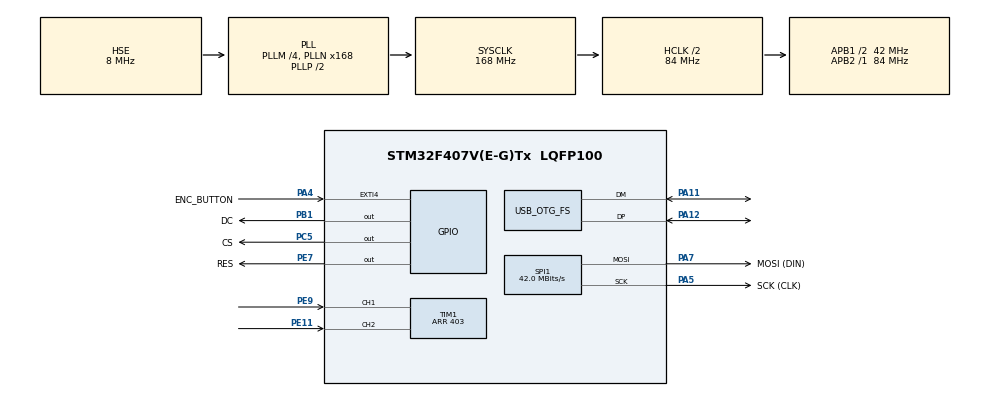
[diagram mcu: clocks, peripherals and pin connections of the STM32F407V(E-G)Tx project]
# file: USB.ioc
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Mcu.Family=STM32F4
Mcu.Name=STM32F407V(E-G)Tx
Mcu.Package=LQFP100
NVIC.EXTI4_IRQn=true\:0\:0\:false\:false\:true\:true
NVIC.OTG_FS_IRQn=true\:0\:0\:false\:false\:true\:false
NVIC.PriorityGroup=NVIC_PRIORITYGROUP_4
NVIC.TIM1_UP_TIM10_IRQn=true\:0\:0\:false\:false\:true\:true
PA11.Mode=Device_Only
PA11.Signal=USB_OTG_FS_DM
PA12.Mode=Device_Only
PA12.Signal=USB_OTG_FS_DP
PA4.GPIO_Label=ENC_BUTTON
PA4.GPIO_ModeDefaultEXTI=GPIO_MODE_IT_FALLING
PA4.GPIO_PuPd=GPIO_PULLDOWN
PA4.Signal=GPXTI4
PA5.GPIO_Label=SCK (CLK)
PA5.Mode=TX_Only_Simplex_Unidirect_Master
PA5.Signal=SPI1_SCK
PA7.GPIO_Label=MOSI (DIN)
PA7.Mode=TX_Only_Simplex_Unidirect_Master
PA7.Signal=SPI1_MOSI
PB1.GPIO_Label=DC
PB1.Signal=GPIO_Output
PC5.GPIO_Label=CS
PC5.Signal=GPIO_Output
PE11.Signal=S_TIM1_CH2
PE7.GPIO_Label=RES
PE7.Signal=GPIO_Output
PE9.Signal=S_TIM1_CH1
PH0-OSC_IN.Mode=HSE-External-Oscillator
PH0-OSC_IN.Signal=RCC_OSC_IN
PH1-OSC_OUT.Mode=HSE-External-Oscillator
PH1-OSC_OUT.Signal=RCC_OSC_OUT
ProjectManager.HeapSize=0x2000
ProjectManager.StackSize=0x4000
ProjectManager.TargetToolchain=MDK-ARM V5
RCC.48MHZClocksFreq_Value=48000000
RCC.AHBCLKDivider=RCC_SYSCLK_DIV2
RCC.AHBFreq_Value=84000000
RCC.APB1CLKDivider=RCC_HCLK_DIV2
RCC.APB1Freq_Value=42000000
RCC.APB1TimFreq_Value=84000000
RCC.APB2Freq_Value=84000000
RCC.APB2TimFreq_Value=84000000
RCC.CortexFreq_Value=84000000
RCC.HCLKFreq_Value=84000000
RCC.HSE_VALUE=8000000
RCC.HSI_VALUE=16000000
RCC.LSE_VALUE=32768
RCC.PLLM=4
RCC.PLLN=168
RCC.PLLQ=7
RCC.SYSCLKFreq_VALUE=168000000
RCC.SYSCLKSource=RCC_SYSCLKSOURCE_PLLCLK
RCC.VCOOutputFreq_Value=336000000
SH.S_TIM1_CH1.0=TIM1_CH1,Encoder_Interface
SH.S_TIM1_CH2.0=TIM1_CH2,Encoder_Interface
SPI1.CLKPhase=SPI_PHASE_2EDGE
SPI1.CLKPolarity=SPI_POLARITY_HIGH
SPI1.CalculateBaudRate=42.0 MBits/s
SPI1.Direction=SPI_DIRECTION_2LINES
SPI1.Mode=SPI_MODE_MASTER
SPI1.VirtualType=VM_MASTER
TIM1.IC1Filter=15
TIM1.IC2Filter=15
TIM1.Period=403
TIM10.Period=4999
TIM10.Prescaler=9999
USB_DEVICE.CLASS_NAME_FS=CDC
USB_DEVICE.VirtualMode-CDC_FS=Cdc
USB_DEVICE.VirtualModeFS=Cdc_FS
USB_OTG_FS.VirtualMode=Device_Only
VP_TIM10_VS_ClockSourceINT.Mode=Enable_Timer
VP_USB_DEVICE_VS_USB_DEVICE_CDC_FS.Mode=CDC_FS
board=USB

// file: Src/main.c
/**
  ******************************************************************************
  * @file           : main.c
  * @brief          : Main program body
  ******************************************************************************
  * This notice applies to any and all portions of this file
  * that are not between comment pairs USER CODE BEGIN and
  * USER CODE END. Other portions of this file, whether
  * inserted by the user or by software development tools
  * are owned by their respective copyright owners.
  *
  * Copyright (c) 2018 STMicroelectronics International N.V.
  * All rights reserved.
  *
  * Redistribution and use in source and binary forms, with or without
  * modification, are permitted, provided that the following conditions are met:
  *
  * 1. Redistribution of source code must retain the above copyright notice,
  *    this list of conditions and the following disclaimer.
  * 2. Redistributions in binary form must reproduce the above copyright notice,
  *    this list of conditions and the following disclaimer in the documentation
  *    and/or other materials provided with the distribution.
  * 3. Neither the name of STMicroelectronics nor the names of other
  *    contributors to this software may be used to endorse or promote products
  *    derived from this software without specific written permission.
  * 4. This software, including modifications and/or derivative works of this
  *    software, must execute solely and exclusively on microcontroller or
  *    microprocessor devices manufactured by or for STMicroelectronics.
  * 5. Redistribution and use of this software other than as permitted under
  *    this license is void and will automatically terminate your rights under
  *    this license.
  *
  * THIS SOFTWARE IS PROVIDED BY STMICROELECTRONICS AND CONTRIBUTORS "AS IS"
  * AND ANY EXPRESS, IMPLIED OR STATUTORY WARRANTIES, INCLUDING, BUT NOT
  * LIMITED TO, THE IMPLIED WARRANTIES OF MERCHANTABILITY, FITNESS FOR A
  * PARTICULAR PURPOSE AND NON-INFRINGEMENT OF THIRD PARTY INTELLECTUAL PROPERTY
  * RIGHTS ARE DISCLAIMED TO THE FULLEST EXTENT PERMITTED BY LAW. IN NO EVENT
  * SHALL STMICROELECTRONICS OR CONTRIBUTORS BE LIABLE FOR ANY DIRECT, INDIRECT,
  * INCIDENTAL, SPECIAL, EXEMPLARY, OR CONSEQUENTIAL DAMAGES (INCLUDING, BUT NOT
  * LIMITED TO, PROCUREMENT OF SUBSTITUTE GOODS OR SERVICES; LOSS OF USE, DATA,
  * OR PROFITS; OR BUSINESS INTERRUPTION) HOWEVER CAUSED AND ON ANY THEORY OF
  * LIABILITY, WHETHER IN CONTRACT, STRICT LIABILITY, OR TORT (INCLUDING
  * NEGLIGENCE OR OTHERWISE) ARISING IN ANY WAY OUT OF THE USE OF THIS SOFTWARE,
  * EVEN IF ADVISED OF THE POSSIBILITY OF SUCH DAMAGE.
  *
  ******************************************************************************
  */
#include "main.h"
#include "stm32f4xx_hal.h"
#include "usb_device.h"

/* USER CODE BEGIN Includes */
#include "usbd_cdc_if.h"
#include <string.h>
#include "SSD1331.h"

/* USER CODE END Includes */

SPI_HandleTypeDef hspi1;
TIM_HandleTypeDef htim1;
TIM_HandleTypeDef htim10;
/* USER CODE BEGIN PV */
/* Private variables ---------------------------------------------------------*/
volatile uint16_t pulse_count; // Licznik impulsow
volatile uint16_t positions; // Licznik przekreconych pozycji
uint8_t coodebrac = 0;
volatile int state; //Var needed to change mods
int prevpos;
uint32_t timer10;
//DATA INFO
uint8_t ln_breaker = '_';
uint8_t Buf[1000];
uint8_t Info1[40];
uint8_t Info2[40];
uint8_t Info3[40];
uint8_t Info4[40];
uint8_t Info5[40];
uint8_t Info6[40];
uint8_t Info7[40];
uint8_t Info8[40];
uint8_t Info9[40];
uint8_t Info10[40];
uint8_t Info11[40];
uint8_t Info12[40];
uint8_t Info13[40];
uint8_t Info14[40];
uint8_t Info15[40];
uint8_t Info16[40];
uint8_t Info17[40];
uint8_t Info18[40];
uint8_t Info19[40];
uint8_t Info20[40];
uint8_t Info21[40];
uint8_t Info22[40];
uint8_t Info23[40];
uint8_t Info24[40];
uint8_t Info25[40];
uint8_t Info26[40];
uint8_t Info27[40];
uint8_t Info28[40];
uint8_t Info29[40];
uint8_t Info30[40];

int info_pos[30] = {0,0,0,0,0,0,0,0,0,0,0,0,0,0,0,0,0,0,0,0,0,0,0,0,0,0,0,0,0,0};
int first_row = 1, second_row = 2, third_row = 3, forth_row = 4;

/* USER CODE END PV */

void SystemClock_Config(void);
static void MX_GPIO_Init(void);
static void MX_SPI1_Init(void);
static void MX_TIM1_Init(void);
static void MX_TIM10_Init(void);

/* USER CODE BEGIN PFP */
/* Private function prototypes -----------------------------------------------*/

/* USER CODE END PFP */

/* USER CODE BEGIN 0 */

void search_for_data_packets(){
	int i, pos;
	pos = 0;
	for(i = 0; i <= 1000; i++){
		if(Buf[i] == ln_breaker){
				if (pos == 0){
					info_pos[pos] = i;
					pos++;
				} else if (pos == 1){
					info_pos[pos] = i;
					pos++;
				} else if (pos == 2){
					info_pos[pos] = i;
					pos++;
				} else if (pos == 3){
					info_pos[pos] = i;
					pos++;
				} else if (pos == 4){
					info_pos[pos] = i;
					pos++;
				} else if (pos == 5){
					info_pos[pos] = i;
					pos++;
				} else if (pos == 6){
					info_pos[pos] = i;
					pos++;
				} else if (pos == 7){
					info_pos[pos] = i;
					pos++;
				} else if (pos == 8){
					info_pos[pos] = i;
					pos++;
				} else if (pos == 9){
					info_pos[pos] = i;
					pos++;
				} else if (pos == 10){
					info_pos[pos] = i;
					pos++;
				} else if (pos == 11){
					info_pos[pos] = i;
					pos++;
				} else if (pos == 12){
					info_pos[pos] = i;
					pos++;
				} else if (pos == 13){
					info_pos[pos] = i;
					pos++;
				} else if (pos == 14){
					info_pos[pos] = i;
					pos++;
				} else if (pos == 15){
					info_pos[pos] = i;
					pos++;
				} else if (pos == 16){
					info_pos[pos] = i;
					pos++;
				} else if (pos == 17){
					info_pos[pos] = i;
					pos++;
				} else if (pos == 18){
					info_pos[pos] = i;
					pos++;
				} else if (pos == 19){
					info_pos[pos] = i;
					pos++;
				} else if (pos == 20){
					info_pos[pos] = i;
					pos++;
				} else if (pos == 21){
					info_pos[pos] = i;
					pos++;
				} else if (pos == 22){
					info_pos[pos] = i;
					pos++;
				} else if (pos == 23){
					info_pos[pos] = i;
					pos++;
				} else if (pos == 24){
					info_pos[pos] = i;
					pos++;
				} else if (pos == 25){
					info_pos[pos] = i;
					pos++;
				} else if (pos == 26){
					info_pos[pos] = i;
					pos++;
				} else if (pos == 27){
					info_pos[pos] = i;
					pos++;
				} else if (pos == 28){
					info_pos[pos] = i;
					pos++;
				} else if (pos == 29){
					info_pos[pos] = i;
					pos++;
				} else if (pos == 30){
					info_pos[pos] = i;
					pos++;
				} else break;
		}
	}

	}

void buf_partition(uint16_t start_pos, uint16_t end_pos, uint8_t table[100]){
		if (start_pos <= end_pos){
		uint16_t cnt = 0;
		while(start_pos != end_pos){
		table[cnt] = Buf[start_pos];
		start_pos++;
		cnt++;
		}
	}
	}

int check_what_to_display(uint8_t pos){
	if (pos == 1)
	return first_row;
	else
	if (pos == 2)
	return second_row;
	else
	if (pos == 3)
	return third_row;
	else
	if (pos == 4)
	return forth_row;
}

void disp_row(uint8_t row, bool option){
	//FALSE to display first portion of data, TRUE to display second portion of data
	int end_at = 11;
	int start_at = 12;
switch(check_what_to_display(row)){
		case 1:
			for(int i = 0; i < end_at; i++){
			if(Info1[(start_at*option)+i] != NULL)
			ssd1331_display_char(i*8,(row-1)*16,Info1[(start_at*option)+i],FONT_1608, GREEN);
			}
		break;

		case 2:
			for(int i = 0; i < end_at; i++){
			if(Info2[(start_at*option)+i] != NULL)
			ssd1331_display_char(i*8,(row-1)*16,Info2[(start_at*option)+i],FONT_1608, GREEN);
			}
		break;

			case 3:
			for(int i = 0; i < end_at; i++){
			if(Info3[(start_at*option)+i] != NULL)
			ssd1331_display_char(i*8,(row-1)*16,Info3[(start_at*option)+i],FONT_1608, GREEN);
			}
		break;

			case 4:
			for(int i = 0; i < end_at; i++){
			if(Info4[(start_at*option)+i] != NULL)
			ssd1331_display_char(i*8,(row-1)*16,Info4[(start_at*option)+i],FONT_1608, GREEN);
			}
		break;

			case 5:
			for(int i = 0; i < end_at; i++){
			if(Info5[(start_at*option)+i] != NULL)
			ssd1331_display_char(i*8,(row-1)*16,Info5[(start_at*option)+i],FONT_1608, GREEN);
			}
		break;

			case 6:
			for(int i = 0; i < end_at; i++){
			if(Info6[(start_at*option)+i] != NULL)
			ssd1331_display_char(i*8,(row-1)*16,Info6[(start_at*option)+i],FONT_1608, GREEN);
			}
		break;

			case 7:
			for(int i = 0; i < end_at; i++){
			if(Info7[(start_at*option)+i] != NULL)
			ssd1331_display_char(i*8,(row-1)*16,Info7[(start_at*option)+i],FONT_1608, GREEN);
			}
		break;

			case 8:
			for(int i = 0; i < end_at; i++){
			if(Info8[(start_at*option)+i] != NULL)
			ssd1331_display_char(i*8,(row-1)*16,Info8[(start_at*option)+i],FONT_1608, GREEN);
			}
		break;

			case 9:
			for(int i = 0; i < end_at; i++){
			if(Info9[(start_at*option)+i] != NULL)
			ssd1331_display_char(i*8,(row-1)*16,Info9[(start_at*option)+i],FONT_1608, GREEN);
			}
		break;

			case 10:
			for(int i = 0; i < end_at; i++){
			if(Info10[(start_at*option)+i] != NULL)
			ssd1331_display_char(i*8,(row-1)*16,Info10[(start_at*option)+i],FONT_1608, GREEN);
			}
		break;

			case 11:
			for(int i = 0; i < end_at; i++){
			if(Info11[(start_at*option)+i] != NULL)
			ssd1331_display_char(i*8,(row-1)*16,Info11[(start_at*option)+i],FONT_1608, GREEN);
			}
		break;

			case 12:
			for(int i = 0; i < end_at; i++){
			if(Info12[(start_at*option)+i] != NULL)
			ssd1331_display_char(i*8,(row-1)*16,Info12[(start_at*option)+i],FONT_1608, GREEN);
			}
		break;

			case 13:
			for(int i = 0; i < end_at; i++){
			if(Info13[(start_at*option)+i] != NULL)
			ssd1331_display_char(i*8,(row-1)*16,Info13[(start_at*option)+i],FONT_1608, GREEN);
			}
		break;

			case 14:
			for(int i = 0; i < end_at; i++){
			if(Info14[(start_at*option)+i] != NULL)
			ssd1331_display_char(i*8,(row-1)*16,Info14[(start_at*option)+i],FONT_1608, GREEN);
			}
		break;

			case 15:
			for(int i = 0; i < end_at; i++){
			if(Info15[(start_at*option)+i] != NULL)
			ssd1331_display_char(i*8,(row-1)*16,Info15[(start_at*option)+i],FONT_1608, GREEN);
			}
		break;

			case 16:
			for(int i = 0; i < end_at; i++){
			if(Info16[(start_at*option)+i] != NULL)
			ssd1331_display_char(i*8,(row-1)*16,Info16[(start_at*option)+i],FONT_1608, GREEN);
			}
		break;

			case 17:
			for(int i = 0; i < end_at; i++){
			if(Info17[(start_at*option)+i] != NULL)
			ssd1331_display_char(i*8,(row-1)*16,Info17[(start_at*option)+i],FONT_1608, GREEN);
			}
		break;

			case 18:
			for(int i = 0; i < end_at; i++){
			if(Info18[(start_at*option)+i] != NULL)
			ssd1331_display_char(i*8,(row-1)*16,Info18[(start_at*option)+i],FONT_1608, GREEN);
			}
		break;

			case 19:
			for(int i = 0; i < end_at; i++){
			if(Info19[(start_at*option)+i] != NULL)
			ssd1331_display_char(i*8,(row-1)*16,Info19[(start_at*option)+i],FONT_1608, GREEN);
			}
		break;

			case 20:
			for(int i = 0; i < end_at; i++){
			if(Info20[(start_at*option)+i] != NULL)
			ssd1331_display_char(i*8,(row-1)*16,Info20[(start_at*option)+i],FONT_1608, GREEN);
			}
		break;

			case 21:
			for(int i = 0; i < end_at; i++){
			if(Info21[(start_at*option)+i] != NULL)
			ssd1331_display_char(i*8,(row-1)*16,Info21[(start_at*option)+i],FONT_1608, GREEN);
			}
		break;

			case 22:
			for(int i = 0; i < end_at; i++){
			if(Info22[(start_at*option)+i] != NULL)
			ssd1331_display_char(i*8,(row-1)*16,Info22[(start_at*option)+i],FONT_1608, GREEN);
			}
		break;

			case 23:
			for(int i = 0; i < end_at; i++){
			if(Info23[(start_at*option)+i] != NULL)
			ssd1331_display_char(i*8,(row-1)*16,Info23[(start_at*option)+i],FONT_1608, GREEN);
			}
		break;

			case 24:
			for(int i = 0; i < end_at; i++){
			if(Info24[(start_at*option)+i] != NULL)
			ssd1331_display_char(i*8,(row-1)*16,Info24[(start_at*option)+i],FONT_1608, GREEN);
			}
		break;

			case 25:
			for(int i = 0; i < end_at; i++){
			if(Info25[(start_at*option)+i] != NULL)
			ssd1331_display_char(i*8,(row-1)*16,Info25[(start_at*option)+i],FONT_1608, GREEN);
			}
		break;

			case 26:
			for(int i = 0; i < end_at; i++){
			if(Info26[(start_at*option)+i] != NULL)
			ssd1331_display_char(i*8,(row-1)*16,Info26[(start_at*option)+i],FONT_1608, GREEN);
			}
		break;

			case 27:
			for(int i = 0; i < end_at; i++){
			if(Info27[(start_at*option)+i] != NULL)
			ssd1331_display_char(i*8,(row-1)*16,Info27[(start_at*option)+i],FONT_1608, GREEN);
			}
		break;

			case 28:
			for(int i = 0; i < end_at; i++){
			if(Info28[(start_at*option)+i] != NULL)
			ssd1331_display_char(i*8,(row-1)*16,Info28[(start_at*option)+i],FONT_1608, GREEN);
			}
		break;

			case 29:
			for(int i = 0; i < end_at; i++){
			if(Info29[(start_at*option)+i] != NULL)
			ssd1331_display_char(i*8,(row-1)*16,Info29[(start_at*option)+i],FONT_1608, GREEN);
			}
		break;

			case 30:
			for(int i = 0; i < end_at; i++){
			if(Info30[(start_at*option)+i] != NULL)
			ssd1331_display_char(i*8,(row-1)*16,Info30[(start_at*option)+i],FONT_1608, GREEN);
			}
		break;
		}
	}

void set_row(uint8_t row, bool option){
	//0 is incrementing, 1 is decrementing
	if(!option){
		if(row == 1)
			first_row++;
		if(row == 2)
			second_row++;
		if(row == 3)
			third_row++;
		if(row == 4)
			forth_row++;
	} else if(option){
		if(row == 1)
			first_row--;
		if(row == 2)
			second_row--;
		if(row == 3)
			third_row--;
		if(row == 4)
			forth_row--;
	}

		if(first_row == 31)
		first_row = 1;
		if(first_row == 0)
		first_row = 30;

		if(second_row == 31)
		second_row = 1;
		if(second_row == 0)
		second_row = 30;

		if(third_row == 31)
		third_row = 1;
		if(third_row == 0)
		third_row = 30;

		if(forth_row == 31)
		forth_row = 1;
		if(forth_row == 0)
		forth_row = 30;
}

void change_info(uint8_t which_place){

	while(state != which_place+1){
		pulse_count = TIM1->CNT; // przepisanie wartosci z rejestru timera
		positions = pulse_count/4;

	if (prevpos > positions){
		set_row(which_place, 0);
		ssd1331_fill_rect(0, (which_place - 1) * 16, 100, 16, BLUE);
		disp_row(which_place,0);
		HAL_Delay(400);
		ssd1331_fill_rect(0, (which_place - 1) * 16, 100, 16, BLUE);
		disp_row(which_place,1);
		prevpos = positions;
			}
	else if (prevpos < positions){
		set_row(which_place, 1);
		ssd1331_fill_rect(0, (which_place - 1) * 16, 100, 16, BLUE);
		disp_row(which_place,0);
		HAL_Delay(400);
		ssd1331_fill_rect(0, (which_place - 1) * 16, 100, 16, BLUE);
		disp_row(which_place,1);
		prevpos = positions;
			}
		}
}

void show_display(bool option){

	//Data display on the screen
	ssd1331_clear_screen(BLACK);
	disp_row(1,option);
	disp_row(2,option);
	disp_row(3,option);
	disp_row(4,option);
}

void get_data(){
	search_for_data_packets();
	buf_partition(1, info_pos[0], Info1);
	buf_partition(info_pos[0]+1, info_pos[1], Info2);
	buf_partition(info_pos[1]+1, info_pos[2], Info3);
	buf_partition(info_pos[2]+1, info_pos[3], Info4);
	buf_partition(info_pos[3]+1, info_pos[4], Info5);
	buf_partition(info_pos[4]+1, info_pos[5], Info6);
	buf_partition(info_pos[5]+1, info_pos[6], Info7);
	buf_partition(info_pos[6]+1, info_pos[7], Info8);
	buf_partition(info_pos[7]+1, info_pos[8], Info9);
	buf_partition(info_pos[8]+1, info_pos[9], Info10);
	buf_partition(info_pos[9]+1, info_pos[10], Info11);
	buf_partition(info_pos[10]+1, info_pos[11], Info12);
	buf_partition(info_pos[11]+1, info_pos[12], Info13);
	buf_partition(info_pos[12]+1, info_pos[13], Info12);
	buf_partition(info_pos[13]+1, info_pos[14], Info14);
	buf_partition(info_pos[14]+1, info_pos[15], Info15);
	buf_partition(info_pos[15]+1, info_pos[16], Info16);
	buf_partition(info_pos[16]+1, info_pos[17], Info17);
	buf_partition(info_pos[17]+1, info_pos[18], Info18);
	buf_partition(info_pos[18]+1, info_pos[19], Info19);
	buf_partition(info_pos[19]+1, info_pos[20], Info20);
	buf_partition(info_pos[20]+1, info_pos[21], Info21);
	buf_partition(info_pos[21]+1, info_pos[22], Info22);
	buf_partition(info_pos[22]+1, info_pos[23], Info23);
	buf_partition(info_pos[23]+1, info_pos[24], Info24);
	buf_partition(info_pos[24]+1, info_pos[25], Info25);
	buf_partition(info_pos[25]+1, info_pos[26], Info26);
	buf_partition(info_pos[26]+1, info_pos[27], Info27);
	buf_partition(info_pos[27]+1, info_pos[28], Info28);
	buf_partition(info_pos[28]+1, info_pos[29], Info29);

}
int main(void)
{
  /* USER CODE BEGIN 1 */
	HAL_GPIO_WritePin(GPIOD, GPIO_PIN_4,GPIO_PIN_RESET);
	state = 0;
  /* USER CODE END 1 */

  /* MCU Configuration----------------------------------------------------------*/

  /* Reset of all peripherals, Initializes the Flash interface and the Systick. */
  HAL_Init();

  /* Configure the system clock */
  SystemClock_Config();

  /* Initialize all configured peripherals */
  MX_GPIO_Init();
  MX_USB_DEVICE_Init();
  MX_SPI1_Init();
  MX_TIM1_Init();
  MX_TIM10_Init();

  /* USER CODE BEGIN 2 */
	HAL_TIM_Encoder_Start(&htim1, TIM_CHANNEL_ALL);
	HAL_TIM_Base_Start_IT(&htim10);
	ssd1331_init();
	timer10 = __HAL_TIM_GetCounter(&htim10);
	ssd1331_clear_screen(BLACK);
	ssd1331_display_string(20,0,"PCInfo",FONT_1608,BLUE);
	ssd1331_display_string(37,16,"By",FONT_1206,RED);
	ssd1331_display_string(8,28,"Rafal Adamski",FONT_1206,RED);
	ssd1331_display_string(40,40,"&",FONT_1206,RED);
	ssd1331_display_string(8,52,"Adam Olszewski",FONT_1206,RED);
	  /* USER CODE END 2 */

  /* Infinite loop */
  /* USER CODE BEGIN WHILE */
  while (1)
  {

	while(Buf[0] != '!'){	}
	get_data();
		switch(state){
			case 0:
				//Data display on the screen
			show_display(0);
			HAL_Delay(800);
			show_display(1);
			HAL_Delay(800);
			break;
			//Change displayed data (first row)
			case 1:
				prevpos = positions;
				ssd1331_fill_rect(0, 0, 100, 16, BLUE);
				disp_row(1,0);
				change_info(1);
			  ssd1331_fill_rect(0, 0, 100, 16, BLACK);
				disp_row(1,0);
			break;

			case 2:
				prevpos = positions;
				ssd1331_fill_rect(0, 16, 100, 16, BLUE);
				disp_row(2,0);
				change_info(2);
				ssd1331_fill_rect(0, 16, 100, 16, BLACK);
				disp_row(2,0);
			break;

			case 3:
				prevpos = positions;
				ssd1331_fill_rect(0, 32, 100, 16, BLUE);
				disp_row(3,0);
				change_info(3);
				ssd1331_fill_rect(0, 32, 100, 16, BLACK);
				disp_row(3,0);
			break;

			case 4:
				prevpos = positions;
				ssd1331_fill_rect(0, 48, 100, 16, BLUE);
				disp_row(4,0);
				change_info(4);
				ssd1331_fill_rect(0, 48, 100, 16, BLACK);
				disp_row(4,0);
			break;

			default:
				state = 0;
			break;

		}

  /* USER CODE END WHILE */

  }

}

void SystemClock_Config(void)
{

  RCC_OscInitTypeDef RCC_OscInitStruct;
  RCC_ClkInitTypeDef RCC_ClkInitStruct;

    /**Configure the main internal regulator output voltage
    */
  __HAL_RCC_PWR_CLK_ENABLE();

  __HAL_PWR_VOLTAGESCALING_CONFIG(PWR_REGULATOR_VOLTAGE_SCALE1);

    /**Initializes the CPU, AHB and APB busses clocks
    */
  RCC_OscInitStruct.OscillatorType = RCC_OSCILLATORTYPE_HSE;
  RCC_OscInitStruct.HSEState = RCC_HSE_ON;
  RCC_OscInitStruct.PLL.PLLState = RCC_PLL_ON;
  RCC_OscInitStruct.PLL.PLLSource = RCC_PLLSOURCE_HSE;
  RCC_OscInitStruct.PLL.PLLM = 4;
  RCC_OscInitStruct.PLL.PLLN = 168;
  RCC_OscInitStruct.PLL.PLLP = RCC_PLLP_DIV2;
  RCC_OscInitStruct.PLL.PLLQ = 7;
  if (HAL_RCC_OscConfig(&RCC_OscInitStruct) != HAL_OK)
  {
    _Error_Handler(__FILE__, __LINE__);
  }

    /**Initializes the CPU, AHB and APB busses clocks
    */
  RCC_ClkInitStruct.ClockType = RCC_CLOCKTYPE_HCLK|RCC_CLOCKTYPE_SYSCLK
                              |RCC_CLOCKTYPE_PCLK1|RCC_CLOCKTYPE_PCLK2;
  RCC_ClkInitStruct.SYSCLKSource = RCC_SYSCLKSOURCE_PLLCLK;
  RCC_ClkInitStruct.AHBCLKDivider = RCC_SYSCLK_DIV2;
  RCC_ClkInitStruct.APB1CLKDivider = RCC_HCLK_DIV2;
  RCC_ClkInitStruct.APB2CLKDivider = RCC_HCLK_DIV1;

  if (HAL_RCC_ClockConfig(&RCC_ClkInitStruct, FLASH_LATENCY_2) != HAL_OK)
  {
    _Error_Handler(__FILE__, __LINE__);
  }

    /**Configure the Systick interrupt time
    */
  HAL_SYSTICK_Config(HAL_RCC_GetHCLKFreq()/1000);

    /**Configure the Systick
    */
  HAL_SYSTICK_CLKSourceConfig(SYSTICK_CLKSOURCE_HCLK);

  /* SysTick_IRQn interrupt configuration */
  HAL_NVIC_SetPriority(SysTick_IRQn, 0, 0);
}

/* SPI1 init function */
static void MX_SPI1_Init(void)
{

  /* SPI1 parameter configuration*/
  hspi1.Instance = SPI1;
  hspi1.Init.Mode = SPI_MODE_MASTER;
  hspi1.Init.Direction = SPI_DIRECTION_2LINES;
  hspi1.Init.DataSize = SPI_DATASIZE_8BIT;
  hspi1.Init.CLKPolarity = SPI_POLARITY_HIGH;
  hspi1.Init.CLKPhase = SPI_PHASE_2EDGE;
  hspi1.Init.NSS = SPI_NSS_SOFT;
  hspi1.Init.BaudRatePrescaler = SPI_BAUDRATEPRESCALER_2;
  hspi1.Init.FirstBit = SPI_FIRSTBIT_MSB;
  hspi1.Init.TIMode = SPI_TIMODE_DISABLE;
  hspi1.Init.CRCCalculation = SPI_CRCCALCULATION_DISABLE;
  hspi1.Init.CRCPolynomial = 10;
  if (HAL_SPI_Init(&hspi1) != HAL_OK)
  {
    _Error_Handler(__FILE__, __LINE__);
  }

}

/* TIM1 init function */
static void MX_TIM1_Init(void)
{

  TIM_Encoder_InitTypeDef sConfig;
  TIM_MasterConfigTypeDef sMasterConfig;

  htim1.Instance = TIM1;
  htim1.Init.Prescaler = 0;
  htim1.Init.CounterMode = TIM_COUNTERMODE_UP;
  htim1.Init.Period = 403;
  htim1.Init.ClockDivision = TIM_CLOCKDIVISION_DIV1;
  htim1.Init.RepetitionCounter = 0;
  sConfig.EncoderMode = TIM_ENCODERMODE_TI1;
  sConfig.IC1Polarity = TIM_ICPOLARITY_RISING;
  sConfig.IC1Selection = TIM_ICSELECTION_DIRECTTI;
  sConfig.IC1Prescaler = TIM_ICPSC_DIV1;
  sConfig.IC1Filter = 15;
  sConfig.IC2Polarity = TIM_ICPOLARITY_RISING;
  sConfig.IC2Selection = TIM_ICSELECTION_DIRECTTI;
  sConfig.IC2Prescaler = TIM_ICPSC_DIV1;
  sConfig.IC2Filter = 15;
  if (HAL_TIM_Encoder_Init(&htim1, &sConfig) != HAL_OK)
  {
    _Error_Handler(__FILE__, __LINE__);
  }

  sMasterConfig.MasterOutputTrigger = TIM_TRGO_RESET;
  sMasterConfig.MasterSlaveMode = TIM_MASTERSLAVEMODE_DISABLE;
  if (HAL_TIMEx_MasterConfigSynchronization(&htim1, &sMasterConfig) != HAL_OK)
  {
    _Error_Handler(__FILE__, __LINE__);
  }

}

/* TIM10 init function */
static void MX_TIM10_Init(void)
{

  htim10.Instance = TIM10;
  htim10.Init.Prescaler = 9999;
  htim10.Init.CounterMode = TIM_COUNTERMODE_UP;
  htim10.Init.Period = 49909;
  htim10.Init.ClockDivision = TIM_CLOCKDIVISION_DIV1;
  if (HAL_TIM_Base_Init(&htim10) != HAL_OK)
  {
    _Error_Handler(__FILE__, __LINE__);
  }

}

/** Configure pins as
        * Analog
        * Input
        * Output
        * EVENT_OUT
        * EXTI
*/
static void MX_GPIO_Init(void)
{

  GPIO_InitTypeDef GPIO_InitStruct;

  /* GPIO Ports Clock Enable */
  __HAL_RCC_GPIOH_CLK_ENABLE();
  __HAL_RCC_GPIOA_CLK_ENABLE();
  __HAL_RCC_GPIOC_CLK_ENABLE();
  __HAL_RCC_GPIOB_CLK_ENABLE();
  __HAL_RCC_GPIOE_CLK_ENABLE();

  /*Configure GPIO pin Output Level */
  HAL_GPIO_WritePin(CS_GPIO_Port, CS_Pin, GPIO_PIN_RESET);

  /*Configure GPIO pin Output Level */
  HAL_GPIO_WritePin(DC_GPIO_Port, DC_Pin, GPIO_PIN_RESET);

  /*Configure GPIO pin Output Level */
  HAL_GPIO_WritePin(RES_GPIO_Port, RES_Pin, GPIO_PIN_RESET);

  /*Configure GPIO pin : ENC_BUTTON_Pin */
  GPIO_InitStruct.Pin = ENC_BUTTON_Pin;
  GPIO_InitStruct.Mode = GPIO_MODE_IT_FALLING;
  GPIO_InitStruct.Pull = GPIO_PULLDOWN;
  HAL_GPIO_Init(ENC_BUTTON_GPIO_Port, &GPIO_InitStruct);

  /*Configure GPIO pin : CS_Pin */
  GPIO_InitStruct.Pin = CS_Pin;
  GPIO_InitStruct.Mode = GPIO_MODE_OUTPUT_PP;
  GPIO_InitStruct.Pull = GPIO_NOPULL;
  GPIO_InitStruct.Speed = GPIO_SPEED_FREQ_LOW;
  HAL_GPIO_Init(CS_GPIO_Port, &GPIO_InitStruct);

  /*Configure GPIO pin : DC_Pin */
  GPIO_InitStruct.Pin = DC_Pin;
  GPIO_InitStruct.Mode = GPIO_MODE_OUTPUT_PP;
  GPIO_InitStruct.Pull = GPIO_NOPULL;
  GPIO_InitStruct.Speed = GPIO_SPEED_FREQ_LOW;
  HAL_GPIO_Init(DC_GPIO_Port, &GPIO_InitStruct);

  /*Configure GPIO pin : RES_Pin */
  GPIO_InitStruct.Pin = RES_Pin;
  GPIO_InitStruct.Mode = GPIO_MODE_OUTPUT_PP;
  GPIO_InitStruct.Pull = GPIO_NOPULL;
  GPIO_InitStruct.Speed = GPIO_SPEED_FREQ_LOW;
  HAL_GPIO_Init(RES_GPIO_Port, &GPIO_InitStruct);

  /* EXTI interrupt init*/
  HAL_NVIC_SetPriority(EXTI4_IRQn, 0, 0);
  HAL_NVIC_EnableIRQ(EXTI4_IRQn);

}

/* USER CODE BEGIN 4 */
void CDC_ReceiveCallBack(uint8_t *buf, uint32_t len){
	//CDC_Transmit_FS(buf, len);
	if(buf[0] == '!'){
		strcpy(Buf, buf);
	} else
	strcat(Buf,buf);
	//memcpy(Buf, buf, 1000);
HAL_GPIO_TogglePin(GPIOD,GPIO_PIN_12);
}
/* USER CODE END 4 */

void _Error_Handler(char *file, int line)
{
  while(1)
  {
  }
}

/************************ (C) COPYRIGHT STMicroelectronics *****END OF FILE****/
